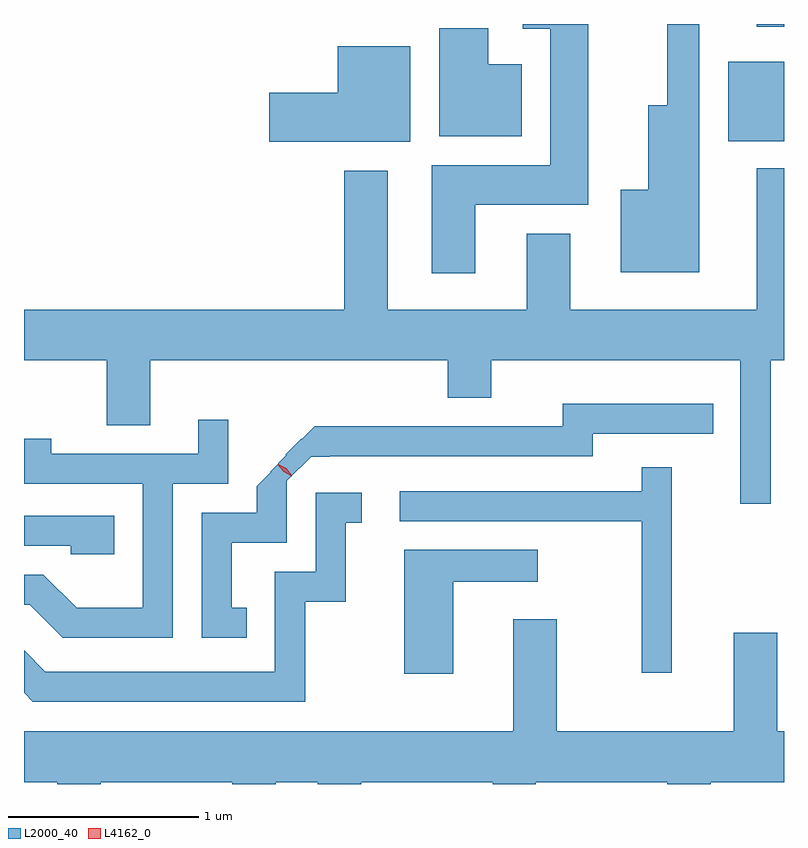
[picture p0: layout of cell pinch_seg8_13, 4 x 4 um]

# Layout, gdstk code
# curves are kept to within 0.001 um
import gdstk
lib = gdstk.Library(unit=1e-6, precision=1e-09)
def R(c, l, rs):  # rectangles x0, y0, x1, y1
    for r in rs: c.add(gdstk.rectangle(r[:2], r[2:], *l))
def P(c, l, *ps):  # polygons
    for p in ps: c.add(gdstk.Polygon(p, *l))
L2000_40 = (2000, 40)
L4162_0 = (4162, 0)

pinch_seg8_13 = lib.new_cell('pinch_seg8_13')
R(pinch_seg8_13, L2000_40, [(1119.771,1835.351,1120.065,1835.769), (1119.921,1835.953,1120.065,1835.967)])
P(pinch_seg8_13, L2000_40, [(1119.619,1835.967),(1119.451,1835.967),(1119.451,1835.539),(1119.351,1835.539),(1119.351,1835.094),(1119.206,1835.094),(1119.206,1834.661),(1119.619,1834.661)],
  [(1118.439,1835.016),(1119.034,1835.016),(1119.034,1835.967),(1118.691,1835.967),(1118.691,1835.941),(1118.836,1835.941),(1118.836,1835.224),(1118.211,1835.224),(1118.211,1834.656),(1118.439,1834.656)],
  [(1118.684,1835.754),(1118.509,1835.754),(1118.509,1835.944),(1118.251,1835.944),(1118.251,1835.376),(1118.684,1835.376)],
  [(1118.099,1835.849),(1117.716,1835.849),(1117.716,1835.604),(1117.356,1835.604),(1117.356,1835.346),(1118.099,1835.346)],
  [(1119.994,1834.196),(1120.065,1834.196),(1120.065,1835.208),(1119.921,1835.208),(1119.921,1834.464),(1118.939,1834.464),(1118.939,1834.864),(1118.711,1834.864),(1118.711,1834.464),(1117.979,1834.464),(1117.979,1835.194),(1117.751,1835.194),(1117.751,1834.464),(1116.065,1834.464),(1116.065,1834.196),(1116.501,1834.196),(1116.501,1833.856),(1116.729,1833.856),(1116.729,1834.196),(1118.296,1834.196),(1118.296,1834.001),(1118.524,1834.001),(1118.524,1834.196),(1119.836,1834.196),(1119.836,1833.443),(1119.994,1833.443)],
  [(1117.238,1832.894),(1117.159,1832.894),(1117.159,1833.236),(1117.449,1833.236),(1117.449,1833.563),(1117.576,1833.69),(1119.059,1833.691),(1119.059,1833.811),(1119.693,1833.811),(1119.693,1833.969),(1118.901,1833.969),(1118.901,1833.849),(1117.595,1833.849),(1117.528,1833.782),(1117.524,1833.785),(1117.44,1833.701),(1117.444,1833.696),(1117.36,1833.611),(1117.364,1833.607),(1117.291,1833.534),(1117.291,1833.394),(1117.001,1833.394),(1117.001,1832.736),(1117.238,1832.736)],
  [(1116.849,1833.546),(1117.139,1833.546),(1117.139,1833.883),(1116.981,1833.883),(1116.981,1833.704),(1116.209,1833.704),(1116.209,1833.783),(1116.065,1833.783),(1116.065,1833.546),(1116.691,1833.546),(1116.691,1832.894),(1116.342,1832.894),(1116.167,1833.069),(1116.065,1833.069),(1116.065,1832.911),(1116.094,1832.911),(1116.269,1832.736),(1116.849,1832.736)],
  [(1119.474,1833.633),(1119.316,1833.633),(1119.316,1833.509),(1118.043,1833.509),(1118.043,1833.351),(1119.316,1833.351),(1119.316,1832.553),(1119.474,1832.553)],
  [(1117.544,1832.926),(1117.759,1832.926),(1117.759,1833.341),(1117.843,1833.341),(1117.843,1833.499),(1117.601,1833.499),(1117.601,1833.084),(1117.386,1833.084),(1117.386,1832.559),(1116.177,1832.559),(1116.065,1832.671),(1116.065,1832.446),(1116.11,1832.401),(1117.544,1832.401)],
  [(1116.539,1833.379),(1116.065,1833.379),(1116.065,1833.221),(1116.311,1833.221),(1116.311,1833.176),(1116.539,1833.176)],
  [(1118.324,1833.031),(1118.768,1833.031),(1118.768,1833.199),(1118.066,1833.199),(1118.066,1832.546),(1118.324,1832.546)],
  [(1116.065,1831.976),(1116.241,1831.976),(1116.241,1831.967),(1116.469,1831.967),(1116.469,1831.976),(1117.161,1831.976),(1117.161,1831.967),(1117.389,1831.967),(1117.389,1831.976),(1117.611,1831.976),(1117.611,1831.967),(1117.839,1831.967),(1117.839,1831.976),(1118.531,1831.976),(1118.531,1831.967),(1118.759,1831.967),(1118.759,1831.976),(1119.451,1831.976),(1119.451,1831.967),(1119.679,1831.967),(1119.679,1831.976),(1120.065,1831.976),(1120.065,1832.244),(1120.029,1832.244),(1120.029,1832.764),(1119.801,1832.764),(1119.801,1832.244),(1118.869,1832.244),(1118.869,1832.834),(1118.641,1832.834),(1118.641,1832.244),(1116.065,1832.244)])
P(pinch_seg8_13, L4162_0, [(1117.474,1833.586),(1117.431,1833.61),(1117.4,1833.648),(1117.4,1833.649),(1117.401,1833.649),(1117.444,1833.625),(1117.475,1833.587),(1117.475,1833.586)],
  [(1117.472,1833.592),(1117.434,1833.612),(1117.407,1833.647),(1117.407,1833.648),(1117.408,1833.648),(1117.446,1833.628),(1117.473,1833.593),(1117.473,1833.592)])

lib.write_gds('pinch_seg8_13.gds')
